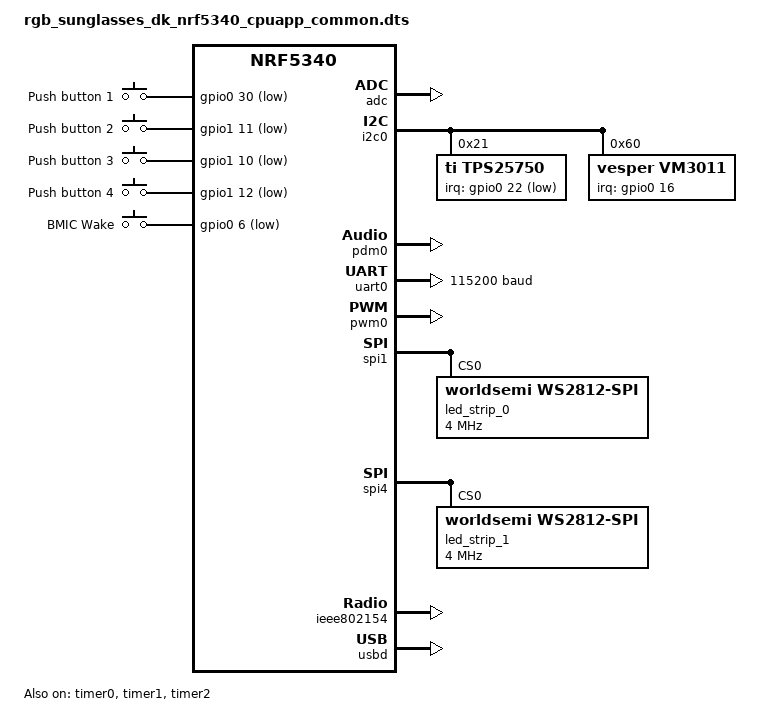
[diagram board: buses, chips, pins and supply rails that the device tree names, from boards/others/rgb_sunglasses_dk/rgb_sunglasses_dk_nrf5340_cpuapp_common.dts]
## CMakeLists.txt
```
#
# Copyright (c) 2023 Nordic Semiconductor
#
# SPDX-License-Identifier: LicenseRef-Nordic-5-Clause
#
cmake_minimum_required(VERSION 3.20.0)

find_package(Zephyr REQUIRED HINTS $ENV{ZEPHYR_BASE})
project(NONE)

add_subdirectory(drivers)
add_subdirectory(include)

if(CONFIG_APP_WASM3_MVP)
  add_subdirectory(third_party/wasm3)
  target_link_libraries(app PRIVATE rgbx_wasm3)
endif()

# NORDIC SDK APP START
target_sources(
  app
  PRIVATE
    src/main.c
    src/usb/usb_init.c
    src/led_controller.cpp
    src/pattern_controller.cpp
    src/pattern_controller_bt_observer.cpp
    src/buttons.cpp
    src/buttons/animation_adapters/button_animation_source.cpp
    src/power.cpp
    src/bluetooth.cpp
    src/bluetooth/boot_gate.cpp
    src/core_config.cpp
    # Always compiled, like every other source in this list - CONFIG_APP_PERSIST_BT_CONFIG
    # gates their *contents* (see the #if in each .cpp), not whether they're built, since
    # other unconditionally-compiled callers (e.g. pattern_controller.cpp) reference their
    # public API regardless of the Kconfig setting.
    src/settings/persistent_value_registry.cpp
    src/settings/persistent_value_store.cpp
    src/animations/bt_animations.cpp
    src/animations/null_animation.cpp
    src/animations/text_animation.cpp
    src/animations/animation_registry.cpp
    src/animations/animation_registry_defaults.cpp
    src/animations/animation_base.cpp
    # Color-mode resolver (issue #259): always-on because the Text animation's BT
    # adapter (unconditionally compiled) instantiates one per color characteristic.
    src/animations/color_mode_source.cpp
    src/fonts/FontAtlas.cpp
    src/fonts/FontShell.cpp
)

# The TPS25750 patch blob: LZ4-compressed (decompressed into RAM at first use) or
# uncompressed rodata, selected per-board — see CONFIG_TPS25750_COMPRESSED_PATCH in
# prj.conf (proto0: uncompressed, saves 14.3KB RAM) and the legacy DK board .conf on
# the dk-support branch (compressed, saves ~4.8KB of its nearly-full FLASH slot).
if(CONFIG_TPS25750_COMPRESSED_PATCH)
  target_sources(app PRIVATE misc/tps25750/tps25750-config-compressed.c)
elseif(CONFIG_TPS25750_INTERNAL_PATCH)
  if(CONFIG_APP_TPS25750_CONFIG_9V)
    # 9V/5V sink-caps variant — same symbol/size as the stock bundle, see
    # the APP_TPS25750_CONFIG_9V Kconfig help.
    target_sources(app PRIVATE misc/tps25750/tps25750-config-9v.c)
  else()
    target_sources(app PRIVATE misc/tps25750/tps25750-config.c)
  endif()
endif()

target_sources_ifdef(CONFIG_AUDIO app PRIVATE src/sound/sound.cpp)
target_sources_ifdef(CONFIG_AUDIO app PRIVATE src/sound/audio_dsp.cpp)
target_sources_ifdef(CONFIG_AUDIO app PRIVATE src/sound/agc_controller.cpp)
target_sources_ifdef(CONFIG_AUDIO app PRIVATE src/sound/audio_config.cpp)
target_sources_ifdef(CONFIG_FAT_FILESYSTEM_ELM app PRIVATE src/storage/storage.cpp)
target_sources_ifdef(CONFIG_FAT_FILESYSTEM_ELM app PRIVATE src/storage/glim_decoder.cpp)
target_sources_ifdef(CONFIG_FAT_FILESYSTEM_ELM app PRIVATE src/storage/glim_registry.cpp)
target_sources_ifdef(CONFIG_APP_SETTINGS_PARTITION_ERASE app PRIVATE src/storage/appcfg_erase.cpp)
target_sources_ifdef(CONFIG_APP_FACTORY_RESET app PRIVATE src/factory_reset/factory_reset.cpp)
target_sources_ifdef(CONFIG_APP_FACTORY_RESET app PRIVATE src/factory_reset/factory_reset_core.cpp)
target_sources_ifdef(CONFIG_APP_EXTENSION_HOST app PRIVATE src/extensions/extension_exports.c)
target_sources_ifdef(CONFIG_APP_EXTENSION_HOST app PRIVATE src/extensions/extension_host.cpp)
target_sources_ifdef(CONFIG_APP_WASM3_MVP app PRIVATE src/extensions/wasm_mvp_runtime.cpp)
if(CONFIG_APP_EXTENSION_HOST OR CONFIG_APP_WASM3_MVP)
  target_sources(app PRIVATE src/extensions/sandbox_fatal_handler.cpp)
endif()
# The shared path fence — compiled with the host itself so neither consumer's
# Kconfig (APP_EXT_FILE_TRANSFER, APP_EXT_FILE_MANAGEMENT) can drop it.
target_sources_ifdef(CONFIG_APP_EXTENSION_HOST app PRIVATE src/extensions/extension_path.cpp)
target_sources_ifdef(CONFIG_APP_EXT_FILE_MANAGEMENT app PRIVATE src/extensions/extension_mgmt.cpp)
target_sources_ifdef(CONFIG_APP_EXTENSION_HOST app PRIVATE src/extensions/extension_manifest.cpp)
target_sources_ifdef(CONFIG_APP_EXTENSION_HOST app PRIVATE src/extensions/extension_param_persistence.cpp)
target_sources_ifdef(CONFIG_APP_EXTENSION_HOST app PRIVATE src/extensions/extension_registry.cpp)
target_sources_ifdef(CONFIG_APP_EXTENSION_HOST app PRIVATE src/extensions/extension_animation_proxy.cpp)
target_sources_ifdef(CONFIG_APP_EXTENSION_HOST app PRIVATE src/extensions/extension_bt.cpp)
target_sources_ifdef(CONFIG_APP_EXT_FILE_TRANSFER app PRIVATE src/extensions/extension_file_transfer.cpp)

# BT-free decision core for the connection-parameter governor (issue #188);
# the wiring lives in src/bluetooth.cpp behind the same Kconfig symbol.
target_sources_ifdef(CONFIG_APP_BT_CONN_PARAM_GOVERNOR app PRIVATE
                     src/bluetooth/conn_param_governor_core.cpp)
target_sources_ifdef(CONFIG_APP_EXTENSION_HOST app PRIVATE src/extensions/extension_metadata_blob.cpp)
target_sources_ifdef(CONFIG_ANIMATION_MY_EYES app PRIVATE src/animations/my_eyes_animation.cpp)
target_sources_ifdef(CONFIG_ANIMATION_RAINBOW app PRIVATE src/animations/rainbow_animation.cpp)
target_sources_ifdef(CONFIG_ANIMATION_ZIGZAG app PRIVATE src/animations/zigzag_animation.cpp)
target_sources_ifdef(CONFIG_ANIMATION_BEAT    app PRIVATE src/animations/beat_animation.cpp)
target_sources_ifdef(CONFIG_ANIMATION_FFT_BARS app PRIVATE src/animations/fft_bars_animation.cpp)
target_sources_ifdef(CONFIG_ANIMATION_GLIM_PLAYER app PRIVATE src/animations/glim_player_animation.cpp)
target_sources_ifdef(CONFIG_ANIMATION_MATRIX_CODE app PRIVATE src/animations/matrix_code_animation.cpp)
target_sources_ifdef(CONFIG_APP_AUDIO_TELEMETRY app PRIVATE src/sound/audio_telemetry.cpp)
target_sources_ifdef(CONFIG_APP_AUDIO_TELEMETRY app PRIVATE
                     src/bluetooth/audio_telemetry_service.cpp)
target_sources_ifdef(CONFIG_APP_CAPTURE app PRIVATE src/sound/capture.cpp)
target_sources_ifdef(CONFIG_APP_CAPTURE app PRIVATE src/bluetooth/capture_service.cpp)
target_sources_ifdef(CONFIG_IMU app PRIVATE src/imu/imu.cpp)
target_sources_ifdef(CONFIG_ANIMATION_TILT app PRIVATE src/animations/tilt_animation.cpp)
target_sources_ifdef(CONFIG_ANIMATION_PULSE app PRIVATE src/animations/pulse_animation.cpp)
target_sources_ifdef(CONFIG_APP_WASM3_MVP app PRIVATE src/animations/wasm_mvp_animation.cpp)
target_sources_ifdef(CONFIG_APP_SHUFFLE app PRIVATE src/animations/shuffle_controller.cpp)
target_sources_ifdef(CONFIG_APP_SHUFFLE app PRIVATE src/bluetooth/shuffle_service.cpp)

# The extension host also binds these adapter sources (rgbx_inputs audio/IMU
# snapshots), so they must compile whenever it is enabled with the matching
# subsystem — not only when a built-in animation wants them. Since issue #259 the
# sound adapter also provides the default AnimationBeatSource for RandomOnBeat
# color mode, so it compiles whenever audio hardware exists at all (a strict
# superset of the old BEAT/FFT_BARS/extension-host condition — both animation
# symbols depend on AUDIO).
if(CONFIG_AUDIO)
  target_sources(app PRIVATE src/sound/animation_adapters/audio_animations_sound.cpp)
endif()

if(CONFIG_ANIMATION_TILT OR (CONFIG_APP_EXTENSION_HOST AND CONFIG_IMU))
  target_sources(app PRIVATE src/imu/animation_adapters/imu_animations_imu.cpp)
endif()

target_sources(app PRIVATE src/bluetooth/animation_adapters/text_animation_bt.cpp)

target_sources_ifdef(CONFIG_ANIMATION_MY_EYES app PRIVATE src/bluetooth/animation_adapters/my_eyes_animation_bt.cpp)
target_sources_ifdef(CONFIG_ANIMATION_RAINBOW app PRIVATE src/bluetooth/animation_adapters/rainbow_animation_bt.cpp)
target_sources_ifdef(CONFIG_ANIMATION_ZIGZAG  app PRIVATE src/bluetooth/animation_adapters/zigzag_animation_bt.cpp)
target_sources_ifdef(CONFIG_ANIMATION_BEAT    app PRIVATE src/bluetooth/animation_adapters/beat_animation_bt.cpp)
target_sources_ifdef(CONFIG_ANIMATION_FFT_BARS app PRIVATE src/bluetooth/animation_adapters/fft_bars_animation_bt.cpp)
target_sources_ifdef(CONFIG_ANIMATION_GLIM_PLAYER app PRIVATE src/bluetooth/animation_adapters/glim_player_animation_bt.cpp)
target_sources_ifdef(CONFIG_ANIMATION_MATRIX_CODE app PRIVATE src/bluetooth/animation_adapters/matrix_code_animation_bt.cpp)
target_sources_ifdef(CONFIG_ANIMATION_TILT app PRIVATE src/bluetooth/animation_adapters/tilt_animation_bt.cpp)
target_sources_ifdef(CONFIG_ANIMATION_PULSE app PRIVATE src/bluetooth/animation_adapters/pulse_animation_bt.cpp)

target_sources_ifdef(CONFIG_STATUS_LED app PRIVATE src/status_led/status_led.cpp)

target_sources_ifdef(CONFIG_NETCORE_VERSION_IPC app PRIVATE src/netcore_version.c)
target_sources_ifdef(CONFIG_APP_MCUBOOT_INFO_SERVICE app PRIVATE src/mcuboot_info.cpp)
target_sources_ifdef(CONFIG_APP_MCUBOOT_UPDATER app PRIVATE
    src/mcuboot_updater.cpp
    src/bluetooth/mcuboot_updater_service.cpp
)
target_sources_ifdef(CONFIG_APP_CHARGER_POLICY app PRIVATE src/power/charger_policy.cpp)
target_sources_ifdef(CONFIG_BQ25792 app PRIVATE src/power/comm_health.cpp)
target_sources_ifdef(CONFIG_APP_BATTERY_MONITOR app PRIVATE src/bluetooth/battery_service.cpp)
target_sources_ifdef(CONFIG_APP_POWER_DEBUG_SERVICE app PRIVATE src/bluetooth/power_debug_service.cpp)

target_sources_ifdef(CONFIG_APP_COREDUMP_MANAGER app PRIVATE
    src/debug/coredump_manager.cpp
    src/debug/coredump_manager_core.cpp
)
target_sources_ifdef(CONFIG_APP_CRASH_TEST_COMMANDS app PRIVATE src/debug/crash_shell.cpp)
# Warns when a thread stack crosses an occupancy threshold (issue #328).
target_sources_ifdef(CONFIG_APP_STACK_WATCH app PRIVATE src/debug/stack_watch.c)

target_include_directories(
  app 
  PRIVATE
    misc/
    src/
)

target_include_directories_ifdef(CONFIG_APP_WASM3_MVP app PRIVATE
                                 third_party/wasm3/source
                                 third_party/wasm3)

# Needs to be accessible to drivers so that the TPS25750 can access the patch file
zephyr_include_directories(misc)

# nRF5340 Anomaly 211: device misses USB RESUME when host restarts SOF packets
# without a formal K-state RESUME signal, causing Windows to escalate to a USB
# Reset. The workaround (polling-based SOF detection during suspend) is already
# implemented in udc_nrf.c but disabled by default behind an #ifndef guard.
zephyr_compile_definitions(NRF_USBD_COMMON_USE_WORKAROUND_FOR_ANOMALY_211=1)

# NORDIC SDK APP END
```

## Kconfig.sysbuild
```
#
# Copyright (c) 2023 Nordic Semiconductor
#
# SPDX-License-Identifier: LicenseRef-Nordic-5-Clause
#

# Use the project-local fork of ipc_radio instead of the NCS SDK copy.
# This follows the pattern in nrf/samples/nrf_rpc/entropy_nrf53/Kconfig.sysbuild:
# extend the NETCORE choice with a new option and set NETCORE_IMAGE_PATH to the
# local source directory so future modifications to the network core are possible.
if SUPPORT_NETCORE

config SUPPORT_NETCORE_RGB_SUNGLASSES_IPC_RADIO
	bool
	default y

choice NETCORE
	default NETCORE_RGB_SUNGLASSES_IPC_RADIO if SUPPORT_NETCORE_RGB_SUNGLASSES_IPC_RADIO && NETCORE_REMOTE_BOARD_TARGET_CPUCLUSTER != ""
	depends on !EXTERNAL_CONFIGURED_NETCORE

config NETCORE_RGB_SUNGLASSES_IPC_RADIO
	bool "rgb_sunglasses_ipc_radio"
	depends on SUPPORT_NETCORE_RGB_SUNGLASSES_IPC_RADIO
	help
	  Use the RGB Sunglasses project-local fork of the NCS ipc_radio
	  application as the network core image. This fork allows custom
	  IPC channels to be added between the network core and app core.

endchoice

if !NETCORE_NONE

config NETCORE_IMAGE_NAME
	default "ipc_radio" if NETCORE_RGB_SUNGLASSES_IPC_RADIO

config NETCORE_IMAGE_PATH
	default "${APP_DIR}/ipc_radio" if NETCORE_RGB_SUNGLASSES_IPC_RADIO

endif # !NETCORE_NONE

endif # SUPPORT_NETCORE

source "share/sysbuild/Kconfig"
```

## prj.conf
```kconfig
#
# Copyright (c) 2023 Nordic Semiconductor
#
# SPDX-License-Identifier: LicenseRef-Nordic-5-Clause
#

# WTF is going on in these functions...
# CONFIG_OUTPUT_DISASSEMBLY=y

# Enable C++ Language Support
CONFIG_CPP=y

# Enable support for C++23 (HELL YEAH!)
CONFIG_STD_CPP2B=y

# Link against the C++ Standard Library
CONFIG_REQUIRES_FULL_LIBCPP=y

CONFIG_BT=y
CONFIG_BT_PERIPHERAL=y

# Allow bonding with more than one phone over the device's lifetime; once full, evict the
# oldest bond instead of rejecting new pairing attempts outright.
CONFIG_BT_MAX_PAIRED=5
CONFIG_BT_KEYS_OVERWRITE_OLDEST=y

# Stored-CCC capacity. The default (48) overflowed when issue #264 Phase 2 added three
# notify characteristics to the audio config service ("Too many Client Characteristic
# Configuration" at settings load, hardware-observed 2026-08-02) - every notifying
# characteristic across all services contributes one CCC per bonded peer slot. 96 is
# the Kconfig range maximum.
CONFIG_BT_SETTINGS_CCC_STORE_MAX=96

# Secure Connections Only mode (issue #232): every pairing is evaluated at L4 - an
# unauthenticated (Just Works), non-SC, or <16-byte-key pairing is REJECTED with SMP
# error 0x03 (Authentication Requirements), so an unauthenticated bond can never be
# created. Note this rejects rather than upgrades a weak pairing attempt; the early
# bt_conn_set_security(L4) in bluetooth.cpp's connected() callback is what steers the
# phone into a passkey pairing in the first place. Together they collapse Android's
# old two-prompt flow (Just Works consent, then passkey re-pair) into one passkey prompt.
CONFIG_BT_SMP_SC_ONLY=y

# Peripheral Preferred Connection Parameters (PPCP, Generic Access Service 0x2A04).
# Android reads this at connection time and uses it when making its own connection-parameter
# decisions (e.g. during BluetoothGatt.refresh()). Matching it to fast_conn_param avoids a
# ~440ms excursion to 45ms that occurs when Android temporarily reverts to the PPCP range
# before the app's requestConnectionPriority(HIGH) takes effect. Units: 1.25ms for intervals,
# 10ms for timeout. Values mirror fast_conn_param in bluetooth.cpp (6-12 units, timeout 400).
CONFIG_BT_PERIPHERAL_PREF_MIN_INT=6
CONFIG_BT_PERIPHERAL_PREF_MAX_INT=12
CONFIG_BT_PERIPHERAL_PREF_LATENCY=0
CONFIG_BT_PERIPHERAL_PREF_TIMEOUT=400

# Enable dynamic BT device name (allows changing name at runtime)
CONFIG_BT_DEVICE_NAME_DYNAMIC=y

# Needed for GATT Long Write
CONFIG_BT_ATT_PREPARE_COUNT=4

# 2048 -> 3072 alongside CONFIG_BT_SETTINGS_CCC_STORE_MAX=96 (issue #264 Phase 2):
# bt_gatt_store_ccc() keeps a struct ccc_store[CCC_STORE_MAX] frame on this stack
# (~4 B/entry, so 48->96 grew that frame by ~192 B) and runs here via the delayed-store
# work with the settings/NVS QSPI write path stacked below it. The extra 1 KB is
# headroom against that growth; a measured high-water pass (CONFIG_THREAD_ANALYZER
# during a bond store) can right-size it later.
CONFIG_SYSTEM_WORKQUEUE_STACK_SIZE=3072

# Do NOT try to make the system workqueue preemptible (attempted for issue #267, reverted).
# It stays cooperative at the default -1, and that is enforced by the SDK, not a choice:
# both zephyr/subsys/bluetooth/Kconfig ("The Bluetooth subsystem requires the system
# workqueue to execute at a cooperative priority") and
# zephyr/subsys/ipc/ipc_service/lib/Kconfig.icmsg constrain SYSTEM_WORKQUEUE_PRIORITY to
# range -256..-1 here, so a positive value is rejected at configure time with
# "user value 10 ... ignored due to being outside the active range". The consequence for
# frame pacing (BT bond/CCC writes reach QSPI flash from a thread nothing can preempt) is
# documented in fw/docs/threading.md, "What is still unpreemptable".

CONFIG_BOOTLOADER_MCUBOOT=y

CONFIG_NRF53_UPGRADE_NETWORK_CORE=y

# CONFIG_NRF53_UPGRADE_NETWORK_CORE pulls in a RAM-backed flash simulator (see
# overlays/net_core_sim_flash.overlay) to stage netcore DFU images before copying them
# to the netcore's real flash. CONFIG_FLASH_SIMULATOR_STATS defaults to y (it selects
# the STATS/STATS_NAMES subsystems purely for debug operation counters on that
# RAM-backed staging buffer) -- not needed for actual functionality, disabled to save
# ~4KB FLASH (issue #79 flash investigation).
CONFIG_FLASH_SIMULATOR_STATS=n

CONFIG_OUTPUT_PRINT_MEMORY_USAGE=y

CONFIG_SPI=y

CONFIG_LED=y

CONFIG_LED_STRIP=y

CONFIG_WS2812_STRIP_SPI=y

# Old USB device stack has bugs in the mass storage class implementation
# Use the new USB device stack which has a much better USB MSC implementation.
#CONFIG_USB_DEVICE_STACK=y
CONFIG_USB_DEVICE_STACK_NEXT=y

CONFIG_SERIAL=y

CONFIG_CONSOLE=y

CONFIG_UART_CONSOLE=y

CONFIG_UART_LINE_CTRL=y

# USBD Next CDC ACM class — auto-enabled by DT_HAS_ZEPHYR_CDC_ACM_UART_ENABLED,
# but listed explicitly for clarity. Replaces the old CONFIG_USB_CDC_ACM.
CONFIG_USBD_CDC_ACM_CLASS=y

# Hardware info provides a unique USB serial number from the device FICR.
CONFIG_HWINFO=y
# Zephyr's own hwinfo shell (issue #192): `hwinfo reset_cause show` answers why the SoC
# last reset, plus `clear`, `supported`, `devid` and `deveui64`. Costs ~1.5 KB FLASH.
#
# RESETREAS is STICKY — bits accumulate until cleared, so `show` reports every cause since
# the last `hwinfo reset_cause clear`, which is what its help text means by "persistent".
# To attribute a specific reboot, clear first, then reproduce, then read.
#
# Nothing in this firmware clears it automatically, and nothing should: an automatic clear
# is only safe after the value has been reported somewhere durable, and the boot log is not
# durable here (the USB CDC backend appears seconds into boot, long after
# CONFIG_LOG_BUFFER_SIZE has overflowed — a proto0 boot log opens with
# "--- 57 messages dropped ---"). An earlier attempt at a custom module that captured,
# reported and cleared was dropped for that reason; see the "Don't rebuild what already
# exists" rule in the root CLAUDE.md.
CONFIG_HWINFO_SHELL=y

CONFIG_LOG=y
CONFIG_LOG_MODE_DEFERRED=y
# Unused and takes space
# CONFIG_LOG_RUNTIME_FILTERING=y
# The pre-thread boot phase (POST_KERNEL SYS_INIT through APPLICATION SYS_INIT) generates
# ~110 packed log_msg records averaging ~273 bytes each = ~30 KB of burst before the log
# processing thread ever gets CPU time. Smaller buffers drop some of that burst
# (measured: 8 KB -> 80 drops, 16 KB -> 50 drops) -- but those are early boot-log lines
# only, not functional data. Dropped 16 KB -> 8 KB in the issue #75 follow-up RAM pass:
# the extra ~30 dropped lines are boot-log cosmetics, not worth 8 KB of RAM.
CONFIG_LOG_BUFFER_SIZE=8192

# DEBUG_COREDUMP moved to the proto0 board conf (issue #80): capture now targets the
# proto0-only internal-flash coredump_partition via the NCS flash backend, and the
# legacy DK board (dk-support branch, ~95% flash used) dropped coredump support
# entirely to reclaim ROM.

CONFIG_EXTRA_EXCEPTION_INFO=y

# Enable thread performance monitoring
# Thread analyzer, used by CONFIG_APP_STACK_WATCH (issue #328) for the measurement only —
# APP_STACK_WATCH supplies the stay-quiet policy and CONFIG_THREAD_ANALYZER_AUTO stays OFF,
# since that prints every thread every interval unconditionally.
#
# ISR stack analysis stays OFF, and this is a real trade rather than a free choice.
#
# thread_analyzer_run() calls isr_stacks() UNCONDITIONALLY after the thread walk, outside
# the caller's callback (thread_analyzer.c), so with it on every periodic check emits
# " ISR0 : STACK: unused 3152 usage 944 / 4096 (23 %)" — hardware-observed, and exactly the
# steady-state spam the watcher exists to avoid producing. There is no way to get the
# measurement without the print.
#
# WHAT THAT COSTS: z_interrupt_stacks (4096 B, measured at 23%) gets no periodic coverage,
# so a deep or nested handler added later hard-faults with CONFIG_HW_STACK_PROTECTION and
# no prior warning, while every THREAD stack in the same image would have warned at 80%.
# `kernel thread stacks` and `thread_analyzer_print()` still report it on demand, so the
# on-demand view is intact — it is the early warning that is missing. Filed as a follow-up
# rather than solved by shipping a periodic log line.
CONFIG_THREAD_ANALYZER_ISR_STACK_USAGE=n

CONFIG_THREAD_MONITOR=y

# Enable the home-built TPS25750 USB Power Delivery controller driver
CONFIG_TPS25750=y

# Need I2C to talk to various components
CONFIG_I2C=y

CONFIG_FLASH=y

# Enable the home-built BQ25792 battery charger driver
CONFIG_BQ25792=y

# Enable a shell that will let us debug the NVM settings
CONFIG_SETTINGS_SHELL=y

# Name-lookup cache for the NVS settings backend (issue #311).
#
# Without it, settings_nvs_save() resolves a key by walking every name id from
# last_name_id down to NVS_NAMECNT_ID, doing an nvs_read() per id. A HIT exits
# that loop early, but a MISS — a first write of a new key, or a delete of a key
# that is not present — always runs the walk to completion. Measured on proto0
# (fw-v3.2.0, 19 keys resident): a miss costs 850-1500 ms, against 1-15 ms for a
# hit. That is a QSPI read storm on the same MX25R6435F the FAT disk lives on.
#
# With the cache loaded and not overflowed, settings_nvs_save() skips the walk
# entirely on a miss (see the `goto found` guarded by SETTINGS_NVS_CACHE_OVFL in
# zephyr/subsys/settings/src/settings_nvs.c) — so sizing it above the key count is
# what makes the fix work.
#
# SIZE THIS AGAINST CHURN, NOT AGAINST RESIDENT KEYS. `cache_total` is set to the
# resident count at load (settings_nvs.c:148) and then only ever INCREMENTED, once
# per first-write of a new name (:349). The delete branch (:283) returns before any
# cache bookkeeping, so deleting a key never frees its slot or decrements the
# counter. The number that trips SETTINGS_NVS_CACHE_OVFL is therefore the
# cumulative distinct names written during one uptime, and create/delete cycles —
# BT bond + CCC records across re-pairing, `ext/<name>` blobs as extensions are
# installed and removed over FILE_MGMT — push it up without bound until reboot.
#
# Static worst case for this tree is roughly 90-100: ~33 persistent characteristic
# keys, up to 16 extension param keys plus 16 extension shuffle-include keys, the
# glim keys, and BT bonding keys for CONFIG_BT_MAX_PAIRED. 256 entries clears that
# with churn headroom on top, and costs 1 KB of RAM (4 B/entry: uint16 hash +
# uint16 id).
#
# **Overflow is silent** — no log, no error, it just reverts to the full walk and
# the 850-1500 ms miss cost comes back. If settings latency ever regresses, check
# this budget first.

CONFIG_SETTINGS_NVS_NAME_CACHE=y
CONFIG_SETTINGS_NVS_NAME_CACHE_SIZE=256

# NVS-layer lookup cache (issue #316). The name cache above removes the miss walk inside
# settings_nvs_save(); this covers what that cannot — settings_nvs_load()'s walk from
# last_name_id down on EVERY boot, and the verification nvs_read() on every name-cache
# hit. Measured on proto0: settings_load() 2,850 ms -> 40 ms.
#
# SIZE THIS AGAINST CUMULATIVE ORDINALS, NOT RESIDENT KEYS — the same trap as the name
# cache above, for a different reason. Two of them compound:
#
#  1. Under _FOR_SETTINGS each settings entry takes TWO slots. nvs.c maps ordinal N's
#     name to hash 2N and its value to 2N+1, so a 256-entry table covers ~128 ordinals,
#     not 256 keys.
#  2. Ordinals are never recycled while the name cache is loaded. settings_nvs_save()
#     takes last_name_id + 1 and then `goto found`, skipping the scan that would have
#     reused a freed id; last_name_id only decrements when the deleted key was the
#     highest, and it is persisted at NVS_NAMECNT_ID, so the inflation survives reboots.
#
# So `ext/<name>` blobs cycling over FILE_MGMT and bt/keys|ccc|sc across re-pairings push
# the ordinal count up while `settings list` still shows ~20 keys. 256 (1 KB, matching the
# name cache's own size below) covers ~128 ordinals against a static ceiling of ~90-100.
#
# A COLLISION IS A CLIFF, NOT A GENTLE SLOPE. Do not read "hash cache" as "degrades
# smoothly". On a colliding hit, nvs_read() seeds from the slot — which holds the NEWEST
# ATE among the colliding ids — and walks backward until it matches, so a stale key
# colliding with a fresh one walks most of the ATE region. Worse for the boot path this
# exists to fix: settings_nvs_load() probes every id from last_name_id down, and an ABSENT
# id whose slot is occupied by a collider no longer short-circuits to -ENOENT — it walks to
# fs->ate_wra before failing. That is the 2,850 ms symptom returning.
CONFIG_NVS_LOOKUP_CACHE=y
CONFIG_NVS_LOOKUP_CACHE_SIZE=256

# Safe here, and verified rather than assumed: the Kconfig warns it must NOT be set if the
# NVS is written directly, outside the settings layer. Nothing in fw/src or fw/drivers
# calls the nvs_* API at all — BT bonding and the appcfg/ subtree both go through settings.
# The one raw-flash toucher is storage_erase_settings_partition(), which erases the whole
# partition; both of its callers (factory_reset_boot_check and the `appcfg erase` shell
# command) reboot immediately afterwards, so a cache holding addresses into just-erased
# flash can never be consulted. `appcfg erase` did NOT reboot before this change — it is
# made to, in this commit, precisely so that invariant is true rather than nearly true.
CONFIG_NVS_LOOKUP_CACHE_FOR_SETTINGS=y

# Needed to make LEDs go brr
CONFIG_SPI_ASYNC=y
CONFIG_POLL=y

# Allow for large Bluetooth data packets.
# This speeds up DFU over Bluetooth.
CONFIG_BT_L2CAP_TX_MTU=498
CONFIG_BT_BUF_ACL_TX_SIZE=502

# Deepen the host TX buffer pool (NCS default is only 3). L2CAP_TX_BUF_COUNT,
# ATT_TX_COUNT and CONN_TX_MAX all default to this symbol, so one bump raises the
# whole ATT/L2CAP/ACL notification path. The default 3 was exhausted by bursty
# notifiers - the battery/power services fan out up to ~12 notifies in one 500ms
# pass, and (before its own fix) the Text animation could notify every render tick -
# producing "bt_att: Unable to allocate buffer for op 0x1b" / notify -ENOMEM (-12).
# Cost measured against the linker map: proto0 appcore RAM 80.5% -> 81.6% (~+4.8KB for
# the 5 extra ACL TX buffers - the 502B payload plus net_buf/reserve overhead each, and
# the matching CONN_TX contexts). Plenty of headroom remains; no FLASH impact.
CONFIG_BT_BUF_ACL_TX_COUNT=8

# Enable the Shell
CONFIG_SHELL=y
CONFIG_SHELL_BACKEND_SERIAL=y
# Increased from default 2048 -- required for `fatfs reformat` (mkfs), verified as the real
# worst case (issue #75): high-water mark hit 5060 B out of the previous 8192 B budget during
# reformat (appcfg erase, the other destructive op, stayed lower). 6656 B leaves ~30% margin.
CONFIG_SHELL_STACK_SIZE=6656

# Validate mem slabs, debugging DMIC
CONFIG_MEM_SLAB_POINTER_VALIDATE=y

# Enable the LittleFS file system.
# Disabled to save ROM
# CONFIG_FILE_SYSTEM=y
# CONFIG_FILE_SYSTEM_LITTLEFS=y

# Disable Bluetooth ping support
# CONFIG_BT_CTLR_LE_PING=n

# Non-zero heap is required for libmetal to be able to allocate
CONFIG_KERNEL_MEM_POOL=y
CONFIG_HEAP_MEM_POOL_SIZE=4096

# Save A LOT of memory! ~30KB
CONFIG_ASSERT=n

# No %f/%g formatting anywhere in the firmware (issue #79 ROM investigation): the only
# float prints were sound.cpp's AGC debug output, converted to integer fixed-point
# (see fmt_fixed4 there). Dropping printf float support removes __dtoa_engine and the
# float paths of vfprintf from both cbprintf (logging/shell) and picolibc (~10KB FLASH).
# A %f that sneaks back in prints the literal format specifier instead of the value --
# it does not crash.
CONFIG_CBPRINTF_FP_SUPPORT=n
CONFIG_PICOLIBC_IO_FLOAT=n


# Save generated pre-processed files
# Helpful for debugging macro expansion issues
# CONFIG_COMPILER_SAVE_TEMPS=y

# The TPS25750 patch is served uncompressed straight from rodata: LZ4-compressing it
# saved ~4.8KB of FLASH but cost a permanently-resident 14.3KB decompression buffer in
# RAM (issue #75 follow-up RAM pass), so the *patch* stays uncompressed here.
# The legacy DK board (dk-support branch) overrides all three of these back to the
# compressed form in its board .conf — its internal-flash image slot has no room for
# the uncompressed patch.
CONFIG_TPS25750_INTERNAL_PATCH=y
CONFIG_TPS25750_COMPRESSED_PATCH=n
CONFIG_TPS25750_PATCH_HEADER_FILE="tps25750/tps25750-config-uncompressed.h"

# LZ4 library — used by the GLIM decoder's Lz4PerFrame/Lz4PerFrameRgb24 formats
# (src/storage/glim_decoder.cpp) to decompress one animation frame per tick. This
# is decode-only; the compressed-frame scratch (~1.5KB) lives in the single
# GlimPlayerAnimation instance, not the 14.3KB TPS patch buffer above (which stays
# off, gated by CONFIG_TPS25750_COMPRESSED_PATCH=n). Enabling this only links the
# LZ4 code in — no runtime cost when no LZ4 GLIM is playing.
CONFIG_LZ4=y

# Include reboot API
CONFIG_REBOOT=y

CONFIG_NETCORE_VERSION_IPC=y

### MCUmgr
# Originally: 
CONFIG_NCS_SAMPLE_MCUMGR_BT_OTA_DFU=y

# Needed by MCUMgr
CONFIG_ZCBOR=y

# Enable MCUmgr
CONFIG_MCUMGR=y

# Enable MCUmgr over UART
# In the board file, we assign this to a USB-CDC UART
CONFIG_MCUMGR_TRANSPORT_UART=y

# Needed by CONFIG_MCUMGR_TRANSPORT_UART
CONFIG_BASE64=y

# Enable MCUmgr over Bluetooth
CONFIG_MCUMGR_TRANSPORT_BT=y

# Explicitly OFF (issue #188): this transport-level auto-tuner requested 7.5-11.25ms with a
# 420ms supervision timeout on every SMP packet - parameters iOS rejects outright (Apple
# QA1931 requires a 2-6s timeout) - and its post-DFU "restore" target is the PPCP values,
# which must stay fast for the Android connect-excursion reason above. It was also a second,
# independent firmware-side requester that would fight the conn-param governor in
# bluetooth.cpp; the governor replaces it using the mgmt hooks below (DFU_STARTED/STOPPED),
# with iOS-legal parameter sets.
CONFIG_MCUMGR_TRANSPORT_BT_CONN_PARAM_CONTROL=n
CONFIG_MCUMGR_TRANSPORT_BT_REASSEMBLY=y

# MCUmgr event hooks feeding the conn-param governor (issue #188): DFU upload start/stop
# boosts the connection to the FAST set for the transfer, and every SMP command counts as
# inbound activity for the idle-downgrade clock. See gov_mgmt_evt_cb in src/bluetooth.cpp.
CONFIG_MCUMGR_MGMT_NOTIFICATION_HOOKS=y
CONFIG_MCUMGR_SMP_COMMAND_STATUS_HOOKS=y
CONFIG_MCUMGR_GRP_IMG_STATUS_HOOKS=y

# Require encryption + authentication (L4-class access) on the MCUmgr SMP DFU
# characteristic. This is already the NCS default when BT_SMP is enabled - stated
# explicitly (issue #232) so a future upstream default change can't silently leave
# the DFU path open. The _ENCRYPT variant remains available below if ever needed.
CONFIG_MCUMGR_TRANSPORT_BT_PERM_RW_AUTHEN=y

# Require encryption (only) for access
# CONFIG_MCUMGR_TRANSPORT_BT_PERM_RW_ENCRYPT=y

# Enable DFU image management commands
CONFIG_STREAM_FLASH=y
CONFIG_IMG_MANAGER=y
CONFIG_MCUMGR_GRP_IMG=y

# MCUboot version BLE service + shell command.
# The legacy DK board (dk-support branch) disabled this — see fw/Kconfig.
CONFIG_RETAINED_MEM=y
CONFIG_RETENTION=y
CONFIG_RETENTION_BOOTLOADER_INFO=y
CONFIG_RETENTION_BOOTLOADER_INFO_TYPE_MCUBOOT=y
CONFIG_RETENTION_BOOTLOADER_INFO_OUTPUT_FUNCTION=y
CONFIG_APP_MCUBOOT_INFO_SERVICE=y

# Enable enumeration commands (querying supported command groups)
CONFIG_MCUMGR_GRP_ENUM=y

# The main thread runs C++ static construction and every APPLICATION-level SYS_INIT,
# which is why this is far larger than a typical Zephyr main stack. Right-sized against
# measurement rather than the original guess (issue #105); figures from
# `kernel thread stacks` on proto0, which reports a true high-water mark because
# CONFIG_INIT_STACKS + CONFIG_THREAD_STACK_INFO paint the stack at creation.
#
# THE DIRECT MEASUREMENT, which is the one to trust:
#
#   main, on a boot where a full volume format provably ran on THIS thread ... 7,684 B
#
# Forced with `fatfs corrupt confirm` (src/storage/storage.cpp) followed by a reset, so
# fs_mount() failed and CONFIG_FS_FATFS_MOUNT_MKFS reformatted inside
# SYS_INIT(mount_fat, APPLICATION). Confirmed it actually ran rather than assuming: the
# provisioned .glim assets were gone afterwards. main measured the same 7,684 B as an
# ordinary boot, so the format is SHALLOWER than the static-init peak and does not set
# the high-water mark at all. 16 KB leaves 8,700 B spare on that path.
#
# WHY THE FORMAT PATH IS THE ONE THAT MATTERS: an undersized main stack does not fail on
# a healthy device. It fails on a device whose filesystem is already broken — the auto
# format runs on this thread, overflows, and boot-loops a board recoverable only by
# J-Link. There are two callers, not one: the auto-format branch inside fatfs_mount(),
# and factory_reset_boot_check() (SYS_INIT APPLICATION prio 0), which calls
# storage_fat_wipe_for_reset() on this same thread.
#
# CONSERVATIVE CROSS-CHECK. f_mkfs is expensive: both mkfs paths in
# zephyr/subsys/fs/fat_fs.c put a `uint8_t work[FF_MAX_SS]` on the caller's stack, and
# CONFIG_FS_FATFS_MAX_SS is 4096 here — so that ONE array is 4 KB, and the subtree
# measures ~5 KB (src/debug/coredump_manager.cpp records the same ~5 KB figure). Assuming
# it stacked entirely on top of the 7,684 B peak (it does not, per the direct measurement
# above) puts a pessimistic floor near 12.7 KB. 16,384 clears even that.
#
# DO NOT re-measure this by diffing another thread's high-water across `fatfs reformat`.
# That method under-reports: the prior high-water is not that thread's depth at the moment
# the command is invoked, so the difference understates the true additional depth. It is
# how an earlier revision of this comment arrived at 3,736 B for a subtree containing a
# single 4,096 B array. Measure main directly on a boot that actually formats.
#
CONFIG_MAIN_STACK_SIZE=16384

# Enable audio animations (silently disabled when CONFIG_AUDIO=n).
CONFIG_ANIMATION_BEAT=y
CONFIG_ANIMATION_FFT_BARS=y

# Silence noisy USBD logs that print useless info at INF() level
CONFIG_USBD_LOG_LEVEL_WRN=y

# Seems to need to be larger...?
CONFIG_BT_LONG_WQ_STACK_SIZE=3600

# Enable viewing how much of each Stack has been used, maximum, across the entire
# run
CONFIG_INIT_STACKS=y

CONFIG_ISR_STACK_SIZE=4096

# Seems to be required for Bluetooth
CONFIG_BT_RX_STACK_SIZE=4096

CONFIG_MCUMGR_GRP_OS=y
CONFIG_MCUMGR_GRP_OS_INFO=y
CONFIG_MCUMGR_GRP_OS_INFO_BUILD_DATE_TIME=y
```

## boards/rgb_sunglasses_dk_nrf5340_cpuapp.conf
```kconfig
# DK-specific Kconfig overrides.
# Picked up automatically by west build when targeting rgb_sunglasses_dk/nrf5340/cpuapp.

# Enable statistics commands
# Disabled to save ROM
CONFIG_MCUMGR_GRP_STAT=n

# Enable shell-over-MCUmgr
# Disabled to save ROM
CONFIG_MCUMGR_GRP_SHELL=n

# Enable zephyr basic commands
# Disabled to save ROM
CONFIG_MCUMGR_GRP_ZBASIC=n

# Enable settings management
# Disabled to save ROM
CONFIG_MCUMGR_GRP_SETTINGS=n

# Enable SMP OS management group commands
# Disabled to save ROM
CONFIG_MCUMGR_GRP_OS=n
CONFIG_MCUMGR_GRP_OS_INFO=n
CONFIG_MCUMGR_GRP_OS_ECHO=n
CONFIG_MCUMGR_GRP_OS_TASKSTAT=n
CONFIG_MCUMGR_GRP_OS_INFO_BUILD_DATE_TIME=n

# Enable file-system management group commands
# TODO: recommended to implement ACLs using MCUMGR_GRP_FS_FILE_ACCESS_HOOK
CONFIG_MCUMGR_GRP_FS=n

# Disable shell commands that are not needed
CONFIG_CLOCK_CONTROL_NRF_SHELL=n
CONFIG_DEVICE_SHELL=n
CONFIG_DEVMEM_SHELL=n
CONFIG_FLASH_SHELL=n

# Minimize Shell memory usage
CONFIG_SHELL_MINIMAL=y

# Stack-overflow canary checking. Lives here rather than in the shared
# prj.conf because it depends on !USERSPACE, and proto0 enables
# CONFIG_USERSPACE — assigning it there never took effect on proto0 and only
# produced a Kconfig warning (issue #164). DK has no userspace, so the
# sentinel is real protection on this board.
CONFIG_STACK_SENTINEL=y

# Enable the microphone driver
CONFIG_VM3011=y

# Enable audio subsystem support
CONFIG_AUDIO=n

# Enable the generic PDM / DMIC interface
CONFIG_AUDIO_DMIC=n

# Depends on AUDIO=n above.
CONFIG_ANIMATION_BEAT=n
CONFIG_ANIMATION_FFT_BARS=n

CONFIG_FPU=y
CONFIG_FPU_SHARING=y

CONFIG_CMSIS_DSP=y
CONFIG_CMSIS_DSP_TRANSFORM=y
CONFIG_CMSIS_DSP_COMPLEXMATH=y
CONFIG_CMSIS_DSP_STATISTICS=y
CONFIG_CMSIS_DSP_WINDOW=y

# CONFIG_DEBUG=y
# CONFIG_DEBUG_OPTIMIZATIONS=y

# Oh god do we ever need this
# CONFIG_SIZE_OPTIMIZATIONS_AGGRESSIVE=y
CONFIG_SIZE_OPTIMIZATIONS=y

# Persisting BT-settable config (see fw/Kconfig: APP_PERSIST_BT_CONFIG) doesn't fit in this
# board's internal-flash image slot, which is already near its limit; DK is legacy and
# doesn't get new features per fw/CLAUDE.md.
CONFIG_APP_PERSIST_BT_CONFIG=n

# Same flash-budget reasoning as APP_PERSIST_BT_CONFIG above: the bulk metadata
# characteristic (fw/Kconfig: APP_BT_METADATA_CHARACTERISTIC) duplicates every
# characteristic's CUD description string as packed binary data, which pushed this
# board's image past its slot size (confirmed: imgtool "Image size ... exceeds requested
# size" with this enabled). DK is legacy and doesn't get new features per fw/CLAUDE.md.
CONFIG_APP_BT_METADATA_CHARACTERISTIC=n

# MCUboot info BLE service (APP_MCUBOOT_INFO_SERVICE) and the underlying
# blinfo/retention stack use flash that this board's image slot cannot spare.
# DK is legacy and doesn't get new features per fw/CLAUDE.md.
CONFIG_APP_MCUBOOT_INFO_SERVICE=n
CONFIG_RETAINED_MEM=n
CONFIG_RETENTION=n
CONFIG_RETENTION_BOOTLOADER_INFO=n
CONFIG_RETENTION_BOOTLOADER_INFO_TYPE_MCUBOOT=n
CONFIG_RETENTION_BOOTLOADER_INFO_OUTPUT_FUNCTION=n

# Same flash-budget reasoning as APP_PERSIST_BT_CONFIG above: proto0 serves the TPS25750
# patch uncompressed from rodata (saves 14.3KB RAM, prj.conf), but the uncompressed blob
# is ~4.8KB bigger in FLASH than the LZ4 one — room this board's image slot doesn't have.
# DK keeps the compressed patch + RAM decompression buffer; its RAM budget is fine.
CONFIG_LZ4=y
CONFIG_TPS25750_COMPRESSED_PATCH=y
CONFIG_TPS25750_PATCH_HEADER_FILE="tps25750/tps25750-config-compressed.h"

CONFIG_BT_DEVICE_NAME="RGB Sunglasses DK"

# USB Product string shown on the host (Device Manager / lsusb / etc), mirrors
# CONFIG_BT_DEVICE_NAME above (issue #107).
CONFIG_APP_USB_PRODUCT_STRING="RGB Sunglasses DK"
# Conn-param governor (issue #188) stays off: legacy board, no new features per
# fw/CLAUDE.md, and the flash budget has no headroom for the governor + the
# MCUmgr notification-hook plumbing it needs. DK keeps the legacy issue-#41
# behavior (one fast bt_conn_le_param_update at connect, never renegotiated).
CONFIG_APP_BT_CONN_PARAM_GOVERNOR=n
# ...and without the governor nothing on this board consumes the MCUmgr
# notification hooks prj.conf enables for it - compile them out too.
# (prj.conf also turned MCUMGR_TRANSPORT_BT_CONN_PARAM_CONTROL off globally;
# DK DFU speed is unaffected - PPCP is the fast set and the app requests
# ConnectionPriority.High, so uploads already run at a fast interval.)
CONFIG_MCUMGR_MGMT_NOTIFICATION_HOOKS=n
CONFIG_MCUMGR_SMP_COMMAND_STATUS_HOOKS=n
CONFIG_MCUMGR_GRP_IMG_STATUS_HOOKS=n
```

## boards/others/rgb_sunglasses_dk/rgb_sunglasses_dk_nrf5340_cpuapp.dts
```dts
/*
 * Copyright (c) 2020 Nordic Semiconductor ASA
 *
 * SPDX-License-Identifier: Apache-2.0
 */

/dts-v1/;
#include <nordic/nrf5340_cpuapp_qkaa.dtsi>
#include "rgb_sunglasses_dk_nrf5340_cpuapp_common.dts"

/ {
	model = "RGB Sunglasses DK NRF5340 Application";
	compatible = "nordic,nrf5340-dk-nrf5340-cpuapp";

	chosen {
		zephyr,sram = &sram0_image;
		zephyr,flash = &flash0;
		zephyr,code-partition = &slot0_partition;
		zephyr,sram-secure-partition = &sram0_s;
		zephyr,sram-non-secure-partition = &sram0_ns;
	};
};
```

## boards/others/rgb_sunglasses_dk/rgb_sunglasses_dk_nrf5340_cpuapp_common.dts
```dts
/*
 * Copyright (c) 2019-2020 Nordic Semiconductor ASA
 *
 * SPDX-License-Identifier: Apache-2.0
 */
#include "rgb_sunglasses_dk_nrf5340_cpuapp_common-pinctrl.dtsi"

#include <freq.h>
#include <zephyr/dt-bindings/led/led.h>
#include <zephyr/dt-bindings/spi/spi.h>

/ {

	chosen {
		zephyr,console = &cdc_acm_uart0;
		zephyr,shell-uart = &cdc_acm_uart0;
		zephyr,uart-mcumgr = &cdc_acm_uart1;
		//zephyr,bt-mon-uart = &uart0; // @skalldri what does this do?
		//zephyr,bt-c2h-uart = &uart0; // @skalldri what does this do?
		zephyr,bt-hci = &bt_hci_ipc0;
		nordic,802154-spinel-ipc = &ipc0;
		zephyr,ieee802154 = &ieee802154;
	};

	/*leds {
		compatible = "gpio-leds";
		led0: led_0 {
			gpios = <&gpio0 28 GPIO_ACTIVE_LOW>;
			label = "Green LED 0";
		};
		led1: led_1 {
			gpios = <&gpio0 29 GPIO_ACTIVE_LOW>;
			label = "Green LED 1";
		};
		led2: led_2 {
			gpios = <&gpio0 30 GPIO_ACTIVE_LOW>;
			label = "Green LED 2";
		};
		led3: led_3 {
			gpios = <&gpio0 31 GPIO_ACTIVE_LOW>;
			label = "Green LED 3";
		};
	};*/

	/*pwmleds {
		compatible = "pwm-leds";
		pwm_led0: pwm_led_0 {
			pwms = <&pwm0 0 PWM_MSEC(20) PWM_POLARITY_INVERTED>;
		};
	};*/

	buttons {
		compatible = "gpio-keys";
		button0: button_0 {
			gpios = <&gpio0 30 (GPIO_PULL_UP | GPIO_ACTIVE_LOW)>;
			label = "Push button 1";
		};
		button1: button_1 {
			gpios = <&gpio1 11 (GPIO_PULL_UP | GPIO_ACTIVE_LOW)>;
			label = "Push button 2";
		};
		button2: button_2 {
			gpios = <&gpio1 10 (GPIO_PULL_UP | GPIO_ACTIVE_LOW)>;
			label = "Push button 3";
		};
		button3: button_3 {
			gpios = <&gpio1 12 (GPIO_PULL_UP | GPIO_ACTIVE_LOW)>;
			label = "Push button 4";
		};
		button4: bmic_wake {
			gpios = <&gpio0 6 (GPIO_PULL_UP | GPIO_ACTIVE_LOW)>;
			label = "BMIC Wake";
		};
	};

	// arduino_header: connector {
		//     compatible = "arduino-header-r3";
		//     #gpio-cells = <2>;
		//     gpio-map-mask = <0xffffffff 0xffffffc0>;
		//     gpio-map-pass-thru = <0 0x3f>;
		//     gpio-map = <0 0 &gpio0 4 0>,    /* A0 */
		//            <1 0 &gpio0 5 0>,    /* A1 */
		//            <2 0 &gpio0 6 0>,    /* A2 */
		//            <3 0 &gpio0 7 0>,    /* A3 */
		//            <4 0 &gpio0 25 0>,    /* A4 */
		//            <5 0 &gpio0 26 0>,    /* A5 */
		//            <6 0 &gpio1 0 0>,    /* D0 */
		//            <7 0 &gpio1 1 0>,    /* D1 */
		//            <8 0 &gpio1 4 0>,    /* D2 */
		//            <9 0 &gpio1 5 0>,    /* D3 */
		//            <10 0 &gpio1 6 0>,    /* D4 */
		//            <11 0 &gpio1 7 0>,    /* D5 */
		//            <12 0 &gpio1 8 0>,    /* D6 */
		//            <13 0 &gpio1 9 0>,    /* D7 */
		//            <14 0 &gpio1 10 0>,    /* D8 */
		//            <15 0 &gpio1 11 0>,    /* D9 */
		//            <16 0 &gpio1 12 0>,    /* D10 */
		//            <17 0 &gpio1 13 0>,    /* D11 */
		//            <18 0 &gpio1 14 0>,    /* D12 */
		//            <19 0 &gpio1 15 0>,    /* D13 */
		//            <20 0 &gpio1 2 0>,    /* D14 */
		//            <21 0 &gpio1 3 0>;    /* D15 */
	// };

	// arduino_adc: analog-connector {
		//     compatible = "arduino,uno-adc";
		//     #io-channel-cells = <1>;
		//     io-channel-map = <0 &adc 0>,    /* A0 = P0.4 = AIN0 */
		//              <1 &adc 1>,    /* A1 = P0.5 = AIN1 */
		//              <2 &adc 2>,    /* A2 = P0.6 = AIN2 */
		//              <3 &adc 3>,    /* A3 = P0.7 = AIN3 */
		//              <4 &adc 4>,    /* A4 = P0.25 = AIN4 */
		//              <5 &adc 5>;    /* A5 = P0.26 = AIN5 */
	// };

	gpio_fwd: nrf-gpio-forwarder {
		compatible = "nordic,nrf-gpio-forwarder";
		status = "okay";
		uart {
			gpios = <&gpio1 1 0>, <&gpio1 0 0>, <&gpio0 11 0>, <&gpio0 10 0>;
		};
	};

	/* These aliases are provided for compatibility with samples */
	aliases {
		/*led0 = &led0;
		led1 = &led1;
		led2 = &led2;
		led3 = &led3;
		pwm-led0 = &pwm_led0;*/
		sw0 = &button0;
		sw1 = &button1;
		sw2 = &button2;
		sw3 = &button3;
		sw-wake = &button4;
		/*bootloader-led0 = &led0;*/
		mcuboot-button0 = &button1;
		/*mcuboot-led0 = &led0;*/
		watchdog0 = &wdt0;
		led-strip-0 = &led_strip_0;
		led-strip-1 = &led_strip_1;
		/*spi-flash0 = &mx25r64;*/
		mic-control = &vm3011;
		mic = &pdm0;
	};
};

/* configure VREGMAIN in DC/DC mode */
&vregmain {
	regulator-initial-mode = <NRF5X_REG_MODE_DCDC>;
};

/* configure VREGRADIO in DC/DC mode */
&vregradio {
	regulator-initial-mode = <NRF5X_REG_MODE_DCDC>;
};

/* mistake in the devkit. Didn't populate DCCH. Cannot use DCDC mode for the HV regulator */
&vregh {
	status = "disabled";
};

&adc {
	status = "okay";
};

&gpiote {
	status = "okay";
};

&gpio0 {
	status = "okay";
};

&gpio1 {
	status = "okay";
};

&i2c0 {
	compatible = "nordic,nrf-twim";
	status = "okay";
	pinctrl-0 = <&i2c0_default>;
	pinctrl-1 = <&i2c0_sleep>;
	pinctrl-names = "default", "sleep";

	tps25750: tps25750@21 {
		compatible = "ti,tps25750";
		reg = <0x21>; /* The address of the device in "normal" mode */
		patch-address = <0x15>; /* The address of the device during patch download */
		patch-chunk-size = <128>; /* the size of the packets sent during patch download */
		status = "okay";
		irq-gpios = <&gpio0 22 (GPIO_ACTIVE_LOW)>; /* Might need to add GPIO_PULL_UP or GPIO_PULL_DOWN here? */

		/* TPS25750 is also an I2C master. Define required properties */
		#address-cells = <1>;
		#size-cells = <0>;

		bq25792: bq25792@6b {
			compatible = "ti,bq25792";
			reg = <0x6B>;
			status = "okay";
		};
	};

	vm3011: vm3011@60 {
		compatible = "vesper,vm3011";
		reg = <0x60>;
		irq-gpios = <&gpio0 16 (GPIO_ACTIVE_HIGH)>;
		status = "okay";
	};
};

&clock {
	hfclkaudio-frequency = <12288000>;
};

&pdm0 {
	status = "okay";
	pinctrl-0 = <&pdm0_default>;
	pinctrl-names = "default";
	queue-size = <10>;
	clock-source = "PCLK32M";
};

&uart0 {
	//status = "okay";
	current-speed = <115200>;
	pinctrl-0 = <&uart0_default>;
	pinctrl-1 = <&uart0_sleep>;
	pinctrl-names = "default", "sleep";
};

&pwm0 {
	status = "okay";
	pinctrl-0 = <&pwm0_default>;
	pinctrl-1 = <&pwm0_sleep>;
	pinctrl-names = "default", "sleep";
};

&timer0 {
	status = "okay";
};

&timer1 {
	status = "okay";
};

&timer2 {
	status = "okay";
};

led_strip_spi_0: &spi1 {
	status = "okay";
	pinctrl-0 = <&spi1_default>;
	pinctrl-1 = <&spi1_sleep>;
	pinctrl-names = "default", "sleep";

	// Attach our LED strip to SPI1
	led_strip_0: ws2812@0 {
		compatible = "worldsemi,ws2812-spi";
		status = "okay";

		/* SPI */
		reg = <0>; /* ignored, but necessary for SPI bindings */
		spi-max-frequency = <DT_FREQ_M(4)>;
		frame-format = <SPI_FRAME_FORMAT_TI>;

		/* WS2812 */
		chain-length = <216>; /* arbitrary; change at will */
		spi-one-frame = <0x70>;
		spi-zero-frame = <0x40>;
		color-mapping = <LED_COLOR_ID_GREEN LED_COLOR_ID_RED LED_COLOR_ID_BLUE>;
	};
};

led_strip_spi_1: &spi4 {
	status = "okay";
	pinctrl-0 = <&spi4_default>;
	pinctrl-1 = <&spi4_sleep>;
	pinctrl-names = "default", "sleep";

	// Attach our LED strip to SPI1
	led_strip_1: ws2812_1@0 {
		compatible = "worldsemi,ws2812-spi";
		status = "okay";

		/* SPI */
		reg = <0>; /* ignored, but necessary for SPI bindings */
		spi-max-frequency = <DT_FREQ_M(4)>;
		frame-format = <SPI_FRAME_FORMAT_TI>;

		/* WS2812 */
		chain-length = <216>; /* arbitrary; change at will */
		spi-one-frame = <0x70>;
		spi-zero-frame = <0x40>;
		color-mapping = <LED_COLOR_ID_GREEN LED_COLOR_ID_RED LED_COLOR_ID_BLUE>;
	};
};

/* WARNING: these partition definitions do nothing because we are always building in multi-image mode, so we instead use Nordic's "Partition manager" */
&flash0 {
	status = "okay";
	partitions {
		compatible = "fixed-partitions";
		#address-cells = <1>;
		#size-cells = <1>;

		boot_partition: partition@0 {
			label = "mcuboot";
			reg = <0x00000000 0x00030000>;
		};
		slot0_partition: partition@30000 {
			label = "image-0";
		};
		slot1_partition: partition@90000 {
			label = "image-1";
		};
		scratch_partition: partition@f0000 {
			label = "image-scratch";
			reg = <0x000f0000 0xa000>;
		};
		storage_partition: partition@fa000 {
			label = "storage";
			reg = <0x000fa000 0x00006000>;
		};
	};
};

&ieee802154 {
	status = "okay";
};

zephyr_udc0: &usbd {
	compatible = "nordic,nrf-usbd";
	status = "okay";

	/* Add a USB UART device */
	cdc_acm_uart0: cdc_acm_uart0 {
		compatible = "zephyr,cdc-acm-uart";
		/* label becomes this interface's USB iInterface string descriptor
		 * (see zephyr,cdc-acm-uart.yaml) -- distinguishes this COM port from
		 * cdc_acm_uart1 on the host instead of both showing up as a generic,
		 * duplicated class name (issue #107). */
		label = "RGB Sunglasses DK - Shell";
	};

	cdc_acm_uart1: cdc_acm_uart1 {
		compatible = "zephyr,cdc-acm-uart";
		label = "RGB Sunglasses DK - MCUMgr";
	};
};

/ {
	reserved-memory {
		#address-cells = <1>;
		#size-cells = <1>;
		ranges;

		sram0_image: image@20000000 {
			/* Zephyr image(s) memory */
		};

		sram0_s: image_s@20000000 {
			/* Secure image memory */
		};

		sram0_ns: image_ns@20040000 {
			/* Non-Secure image memory */
		};
	};
};

/* Include partition configuration file */
#include "rgb_sunglasses_dk_nrf5340_cpuapp_partition_conf.dts"
```

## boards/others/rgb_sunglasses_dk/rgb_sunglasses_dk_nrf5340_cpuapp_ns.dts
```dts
/*
 * Copyright (c) 2020 Nordic Semiconductor ASA
 *
 * SPDX-License-Identifier: Apache-2.0
 */

/dts-v1/;
#include <nordic/nrf5340_cpuappns_qkaa.dtsi>
#include "rgb_sunglasses_dk_nrf5340_cpuapp_common.dts"

/ {
	model = "RGB Sunglasses DK NRF5340 Application";
	compatible = "nordic,nrf5340-dk-nrf5340-cpuapp";

	chosen {
		zephyr,sram = &sram0_ns;
		zephyr,flash = &flash0;
		zephyr,code-partition = &slot0_ns_partition;
	};
};
```

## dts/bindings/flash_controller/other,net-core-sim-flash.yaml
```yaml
# SPDX-License-Identifier: Apache-2.0

description: NRF5340 Simulated flash memory for Network Core Primary Image state queries

compatible: "other,net-core-sim-flash"

include: base.yaml

properties:
  erase-value:
    type: int
    enum: [0xff, 0x00]
    description: Value of erased flash cell
```

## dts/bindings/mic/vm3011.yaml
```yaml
description: Vesper Technologies VM3011 Low-Noise PDM Digital Pizezoelectric MEMS Microphone

compatible: "vesper,vm3011"

include: [i2c-device.yaml]

properties:
  irq-gpios:
      type: phandle-array
      description: |
        I2CS_IRQ pin
        This pin defaults to active low when produced by the sensor.
        The property value should ensure the flags properly describe
        the signal that is presented to the driver.
```

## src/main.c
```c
/*
 * Copyright (c) 2023 Nordic Semiconductor ASA
 *
 * SPDX-License-Identifier: LicenseRef-Nordic-5-Clause
 */

#include <errno.h>
#include <soc.h>
#include <stddef.h>
#include <string.h>
#include <zephyr/drivers/gpio.h>
#include <zephyr/kernel.h>
#include <zephyr/logging/log.h>
#include <zephyr/sys/byteorder.h>
#include <zephyr/sys/printk.h>
#include <zephyr/types.h>

LOG_MODULE_REGISTER(main);

int main(void) {
    LOG_INF("RGB Sunglasses - Main");

    for (;;) {
        // LOG_INF("App is alive");
        k_msleep(10000);
    }

    return 0;
}
```
